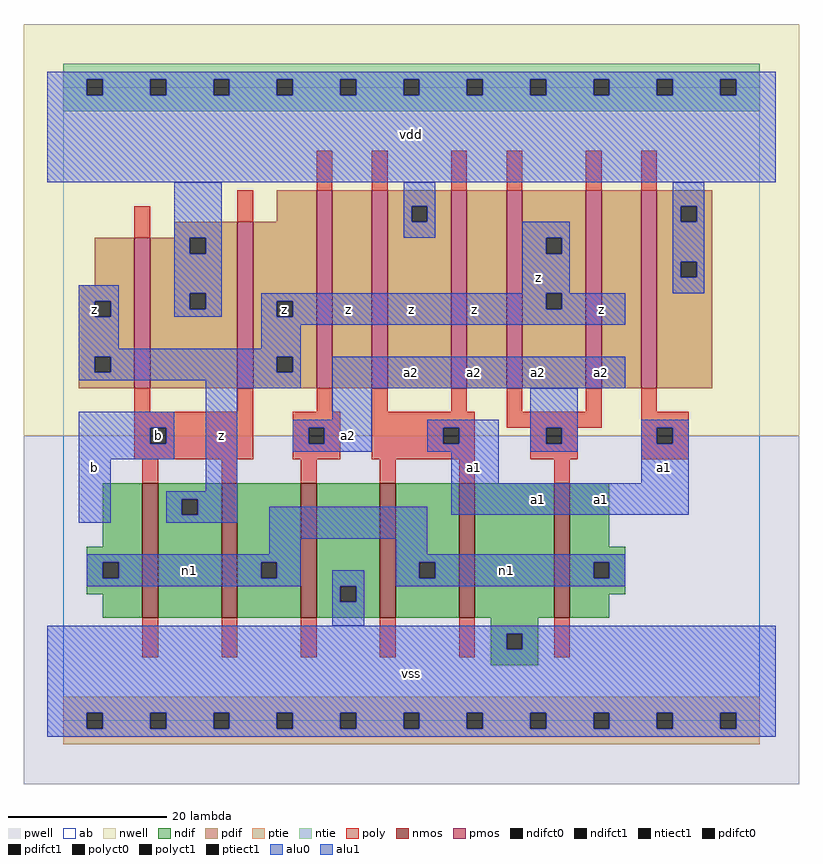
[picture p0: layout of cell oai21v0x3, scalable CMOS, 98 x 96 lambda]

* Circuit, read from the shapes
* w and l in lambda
.subckt oai21v0x3 a1 a2 b n1 vdd vss z
M1 z b n1 vss nfet w=17 l=2 m=2
M2 vss a2 n1 vss nfet w=17 l=2 m=2
M3 n1 a1 vss vss nfet w=17 l=2 m=2
M4 vdd b z vdd pfet w=19 l=2
M5 z b vdd vdd pfet w=21 l=2
M6 n2 a2 z vdd pfet w=25 l=2
M7 vdd a1 n2 vdd pfet w=25 l=2
M8 n3 a1 vdd vdd pfet w=25 l=2
M9 z a2 n3 vdd pfet w=25 l=2
M10 n4 a2 z vdd pfet w=25 l=2
M11 vdd a1 n4 vdd pfet w=25 l=2
.ends

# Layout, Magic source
magic
tech scmos
<< ab >>
rect 0 0 88 80
<< nwell >>
rect -5 36 93 88
<< pwell >>
rect -5 -8 93 36
<< poly >>
rect 32 67 34 72
rect 39 67 41 72
rect 49 67 51 72
rect 56 67 58 72
rect 66 67 68 72
rect 73 67 75 72
rect 9 61 11 65
rect 22 63 24 67
rect 9 39 11 42
rect 22 39 24 42
rect 32 39 34 42
rect 39 39 41 42
rect 49 39 51 42
rect 56 39 58 42
rect 66 39 68 42
rect 9 37 24 39
rect 9 35 11 37
rect 13 35 24 37
rect 9 33 24 35
rect 29 37 35 39
rect 29 35 31 37
rect 33 35 35 37
rect 29 33 35 35
rect 39 37 52 39
rect 56 37 68 39
rect 73 39 75 42
rect 73 37 79 39
rect 39 35 48 37
rect 50 35 52 37
rect 39 33 52 35
rect 59 35 61 37
rect 63 35 65 37
rect 59 33 65 35
rect 73 35 75 37
rect 77 35 79 37
rect 73 33 79 35
rect 10 30 12 33
rect 20 30 22 33
rect 30 30 32 33
rect 40 30 42 33
rect 50 30 52 33
rect 62 30 64 33
rect 10 8 12 13
rect 20 8 22 13
rect 30 8 32 13
rect 40 8 42 13
rect 50 8 52 13
rect 62 8 64 13
<< ndif >>
rect 5 22 10 30
rect 3 20 10 22
rect 3 18 5 20
rect 7 18 10 20
rect 3 16 10 18
rect 5 13 10 16
rect 12 28 20 30
rect 12 26 15 28
rect 17 26 20 28
rect 12 13 20 26
rect 22 20 30 30
rect 22 18 25 20
rect 27 18 30 20
rect 22 13 30 18
rect 32 17 40 30
rect 32 15 35 17
rect 37 15 40 17
rect 32 13 40 15
rect 42 20 50 30
rect 42 18 45 20
rect 47 18 50 20
rect 42 13 50 18
rect 52 13 62 30
rect 64 22 69 30
rect 64 20 71 22
rect 64 18 67 20
rect 69 18 71 20
rect 64 16 71 18
rect 64 13 69 16
rect 54 11 60 13
rect 54 9 56 11
rect 58 9 60 11
rect 54 7 60 9
<< pdif >>
rect 27 63 32 67
rect 14 61 22 63
rect 4 55 9 61
rect 2 53 9 55
rect 2 51 4 53
rect 6 51 9 53
rect 2 46 9 51
rect 2 44 4 46
rect 6 44 9 46
rect 2 42 9 44
rect 11 59 16 61
rect 18 59 22 61
rect 11 54 22 59
rect 11 52 16 54
rect 18 52 22 54
rect 11 42 22 52
rect 24 53 32 63
rect 24 51 27 53
rect 29 51 32 53
rect 24 46 32 51
rect 24 44 27 46
rect 29 44 32 46
rect 24 42 32 44
rect 34 42 39 67
rect 41 65 49 67
rect 41 63 44 65
rect 46 63 49 65
rect 41 42 49 63
rect 51 42 56 67
rect 58 61 66 67
rect 58 59 61 61
rect 63 59 66 61
rect 58 54 66 59
rect 58 52 61 54
rect 63 52 66 54
rect 58 42 66 52
rect 68 42 73 67
rect 75 65 82 67
rect 75 63 78 65
rect 80 63 82 65
rect 75 58 82 63
rect 75 56 78 58
rect 80 56 82 58
rect 75 42 82 56
<< alu1 >>
rect -2 81 90 82
rect -2 79 3 81
rect 5 79 11 81
rect 13 79 19 81
rect 21 79 27 81
rect 29 79 35 81
rect 37 79 43 81
rect 45 79 51 81
rect 53 79 59 81
rect 61 79 67 81
rect 69 79 75 81
rect 77 79 83 81
rect 85 79 90 81
rect -2 68 90 79
rect 58 61 64 63
rect 2 53 7 55
rect 2 51 4 53
rect 6 51 7 53
rect 58 59 61 61
rect 63 59 64 61
rect 58 54 64 59
rect 25 53 61 54
rect 25 51 27 53
rect 29 52 61 53
rect 63 52 71 54
rect 29 51 71 52
rect 2 47 7 51
rect 25 50 71 51
rect 25 47 30 50
rect 2 46 30 47
rect 2 44 4 46
rect 6 44 27 46
rect 29 44 30 46
rect 2 43 30 44
rect 18 42 30 43
rect 34 42 71 46
rect 2 37 14 39
rect 2 35 11 37
rect 13 35 14 37
rect 2 33 14 35
rect 2 25 6 33
rect 18 29 22 42
rect 34 38 39 42
rect 29 37 39 38
rect 29 35 31 37
rect 33 35 39 37
rect 29 34 39 35
rect 46 37 55 38
rect 46 35 48 37
rect 50 35 55 37
rect 46 34 55 35
rect 73 37 79 38
rect 73 35 75 37
rect 77 35 79 37
rect 13 28 22 29
rect 13 26 15 28
rect 17 26 22 28
rect 49 30 55 34
rect 73 30 79 35
rect 13 25 22 26
rect 49 26 79 30
rect -2 11 90 12
rect -2 9 56 11
rect 58 9 90 11
rect -2 1 90 9
rect -2 -1 3 1
rect 5 -1 11 1
rect 13 -1 19 1
rect 21 -1 27 1
rect 29 -1 35 1
rect 37 -1 43 1
rect 45 -1 51 1
rect 53 -1 59 1
rect 61 -1 67 1
rect 69 -1 75 1
rect 77 -1 83 1
rect 85 -1 90 1
rect -2 -2 90 -1
<< ptie >>
rect 0 1 88 3
rect 0 -1 3 1
rect 5 -1 11 1
rect 13 -1 19 1
rect 21 -1 27 1
rect 29 -1 35 1
rect 37 -1 43 1
rect 45 -1 51 1
rect 53 -1 59 1
rect 61 -1 67 1
rect 69 -1 75 1
rect 77 -1 83 1
rect 85 -1 88 1
rect 0 -3 88 -1
<< ntie >>
rect 0 81 88 83
rect 0 79 3 81
rect 5 79 11 81
rect 13 79 19 81
rect 21 79 27 81
rect 29 79 35 81
rect 37 79 43 81
rect 45 79 51 81
rect 53 79 59 81
rect 61 79 67 81
rect 69 79 75 81
rect 77 79 83 81
rect 85 79 88 81
rect 0 77 88 79
<< nmos >>
rect 10 13 12 30
rect 20 13 22 30
rect 30 13 32 30
rect 40 13 42 30
rect 50 13 52 30
rect 62 13 64 30
<< pmos >>
rect 9 42 11 61
rect 22 42 24 63
rect 32 42 34 67
rect 39 42 41 67
rect 49 42 51 67
rect 56 42 58 67
rect 66 42 68 67
rect 73 42 75 67
<< polyct0 >>
rect 61 35 63 37
<< polyct1 >>
rect 11 35 13 37
rect 31 35 33 37
rect 48 35 50 37
rect 75 35 77 37
<< ndifct0 >>
rect 5 18 7 20
rect 25 18 27 20
rect 35 15 37 17
rect 45 18 47 20
rect 67 18 69 20
<< ndifct1 >>
rect 15 26 17 28
rect 56 9 58 11
<< ntiect1 >>
rect 3 79 5 81
rect 11 79 13 81
rect 19 79 21 81
rect 27 79 29 81
rect 35 79 37 81
rect 43 79 45 81
rect 51 79 53 81
rect 59 79 61 81
rect 67 79 69 81
rect 75 79 77 81
rect 83 79 85 81
<< ptiect1 >>
rect 3 -1 5 1
rect 11 -1 13 1
rect 19 -1 21 1
rect 27 -1 29 1
rect 35 -1 37 1
rect 43 -1 45 1
rect 51 -1 53 1
rect 59 -1 61 1
rect 67 -1 69 1
rect 75 -1 77 1
rect 83 -1 85 1
<< pdifct0 >>
rect 16 59 18 61
rect 16 52 18 54
rect 44 63 46 65
rect 78 63 80 65
rect 78 56 80 58
<< pdifct1 >>
rect 4 51 6 53
rect 4 44 6 46
rect 27 51 29 53
rect 27 44 29 46
rect 61 59 63 61
rect 61 52 63 54
<< alu0 >>
rect 14 61 20 68
rect 43 65 47 68
rect 43 63 44 65
rect 46 63 47 65
rect 77 65 81 68
rect 77 63 78 65
rect 80 63 81 65
rect 43 61 47 63
rect 14 59 16 61
rect 18 59 20 61
rect 14 54 20 59
rect 77 58 81 63
rect 77 56 78 58
rect 80 56 81 58
rect 77 54 81 56
rect 14 52 16 54
rect 18 52 20 54
rect 14 51 20 52
rect 59 37 65 42
rect 59 35 61 37
rect 63 35 65 37
rect 59 34 65 35
rect 26 23 46 27
rect 26 21 30 23
rect 3 20 30 21
rect 3 18 5 20
rect 7 18 25 20
rect 27 18 30 20
rect 42 21 46 23
rect 42 20 71 21
rect 3 17 30 18
rect 34 17 38 19
rect 42 18 45 20
rect 47 18 67 20
rect 69 18 71 20
rect 42 17 71 18
rect 34 15 35 17
rect 37 15 38 17
rect 34 12 38 15
<< labels >>
rlabel alu0 16 19 16 19 6 n1
rlabel alu0 56 19 56 19 6 n1
rlabel polyct1 12 36 12 36 6 b
rlabel alu1 4 32 4 32 6 b
rlabel alu1 4 52 4 52 6 z
rlabel alu1 20 36 20 36 6 z
rlabel alu1 36 36 36 36 6 a2
rlabel alu1 36 52 36 52 6 z
rlabel pdifct1 28 52 28 52 6 z
rlabel alu1 44 6 44 6 6 vss
rlabel alu1 52 32 52 32 6 a1
rlabel alu1 60 28 60 28 6 a1
rlabel alu1 52 44 52 44 6 a2
rlabel alu1 60 44 60 44 6 a2
rlabel alu1 44 44 44 44 6 a2
rlabel alu1 44 52 44 52 6 z
rlabel alu1 52 52 52 52 6 z
rlabel alu1 60 56 60 56 6 z
rlabel alu1 44 74 44 74 6 vdd
rlabel alu1 68 28 68 28 6 a1
rlabel alu1 76 32 76 32 6 a1
rlabel alu1 68 44 68 44 6 a2
rlabel alu1 68 52 68 52 6 z
<< end >>
